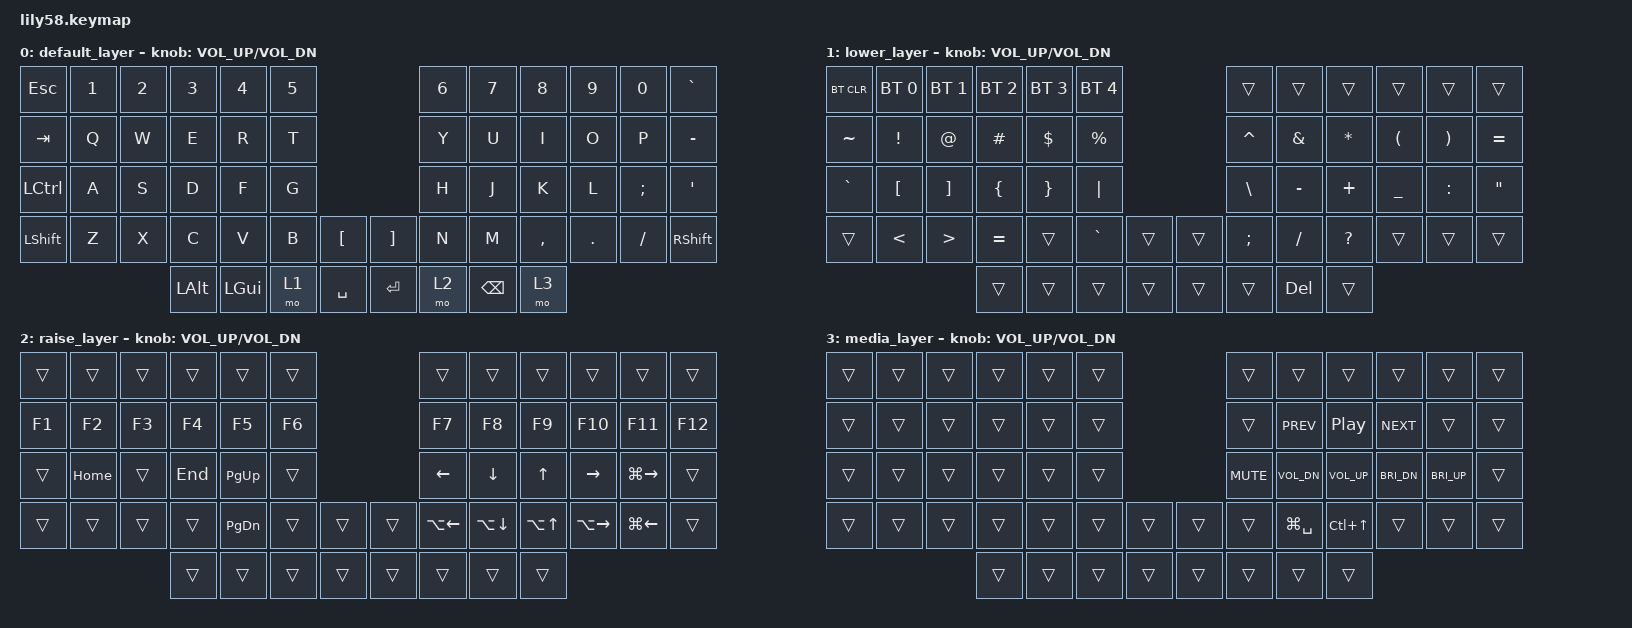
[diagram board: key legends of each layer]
/*
 * Copyright (c) 2020 The ZMK Contributors
 *
 * SPDX-License-Identifier: MIT
 *
 * Lily58 Keymap — JS/TS Dev + Mac + Vim Nav + Media Controls
 * Layers:
 *   0 DEFAULT — standard QWERTY, Mac-friendly modifiers
 *   1 LOWER   — symbols heavy for JS/TS (brackets, pipes, template literals)
 *   2 RAISE   — Vim-style navigation + Mac word/line jumps + F-keys
 *   3 MEDIA   — volume, brightness, playback, Spotlight, Mission Control
 */

#include <behaviors.dtsi>
#include <dt-bindings/zmk/keys.h>
#include <dt-bindings/zmk/bt.h>
#include <dt-bindings/zmk/ext_power.h>

/ {
    keymap {
        compatible = "zmk,keymap";

        // ------------------------------------------------------------------------------------------------------------
        // DEFAULT
        // |  ESC  |  1  |  2  |  3   |  4   |  5   |                   |  6   |  7   |  8   |  9   |  0   |   `   |
        // |  TAB  |  Q  |  W  |  E   |  R   |  T   |                   |  Y   |  U   |  I   |  O   |  P   |   -   |
        // |  CTRL |  A  |  S  |  D   |  F   |  G   |                   |  H   |  J   |  K   |  L   |  ;   |   '   |
        // | SHIFT |  Z  |  X  |  C   |  V   |  B   |   [   |   |   ]   |  N   |  M   |  ,   |  .   |  /   | SHIFT |
        //                     | ALT  | CMD  | LWR  | SPACE |   | ENTER | RSE  | BSPC | MED  |
        default_layer {
            bindings = <
&kp ESC   &kp N1 &kp N2 &kp N3   &kp N4   &kp N5                       &kp N6 &kp N7   &kp N8    &kp N9  &kp N0   &kp GRAVE
&kp TAB   &kp Q  &kp W  &kp E    &kp R    &kp T                        &kp Y  &kp U    &kp I     &kp O   &kp P    &kp MINUS
&kp LCTRL &kp A  &kp S  &kp D    &kp F    &kp G                        &kp H  &kp J    &kp K     &kp L   &kp SEMI &kp SQT
&kp LSHFT &kp Z  &kp X  &kp C    &kp V    &kp B  &kp LBKT   &kp RBKT   &kp N  &kp M    &kp COMMA &kp DOT &kp FSLH &kp RSHFT
                        &kp LALT &kp LGUI &mo 1  &kp SPACE  &kp RET    &mo 2  &kp BSPC &mo 3
            >;
            sensor-bindings = <&inc_dec_kp C_VOL_UP C_VOL_DN>;
        };

        // ------------------------------------------------------------------------------------------------------------
        // LOWER — JS/TS symbols
        // | BTCLR | BT1 | BT2 | BT3 | BT4 | BT5 |                   |      |      |      |      |      |      |
        // |   ~   |  !  |  @  |  #  |  $  |  %  |                   |  ^   |  &   |  *   |  (   |  )   |  =   |
        // |   `   |  [  |  ]  |  {  |  }  |  |  |                   |  \   |  -   |  +   |  _   |  :   |  "   |
        // |       |  <  |  >  |  =  |     |  `  |       |   |       |  ;   |  /   |  ?   |      |      |      |
        //                     |     |     |     |       |   |       |      | DEL  |      |
        lower_layer {
            bindings = <
&bt BT_CLR &bt BT_SEL 0 &bt BT_SEL 1 &bt BT_SEL 2 &bt BT_SEL 3 &bt BT_SEL 4                   &trans    &trans    &trans    &trans    &trans   &trans
&kp TILDE  &kp EXCL     &kp AT       &kp HASH     &kp DLLR     &kp PRCNT                        &kp CARET &kp AMPS  &kp ASTRK &kp LPAR  &kp RPAR &kp EQUAL
&kp GRAVE  &kp LBKT     &kp RBKT     &kp LBRC     &kp RBRC     &kp PIPE                         &kp BSLH  &kp MINUS &kp PLUS  &kp UNDER &kp COLN &kp DQT
&trans     &kp LT       &kp GT       &kp EQUAL    &trans       &kp GRAVE  &trans     &trans      &kp SEMI  &kp FSLH  &kp QMARK &trans    &trans   &trans
                                     &trans       &trans       &trans     &trans     &trans      &trans    &kp DEL   &trans
            >;
            sensor-bindings = <&inc_dec_kp C_VOL_UP C_VOL_DN>;
        };

        // ------------------------------------------------------------------------------------------------------------
        // RAISE — Vim-style navigation + Mac word/line jumps + F-keys
        // |      |     |     |      |      |     |                   |      |       |       |      |       |     |
        // |  F1  |  F2 |  F3 |  F4  |  F5  |  F6 |                   |  F7  |  F8   |  F9   |  F10 |  F11  | F12 |
        // |      | HOME|     | END  | PGUP |     |                   |  ←   |   ↓   |   ↑   |  →   | CMD→  |     |
        // |      |     |     |      | PGDN |     |       |   |       | OPT← | OPT↓  | OPT↑  | OPT→ | CMD←  |     |
        //                    |      |      |     |       |   |       |      |       |       |
        raise_layer {
            bindings = <
&trans &trans   &trans &trans  &trans    &trans                       &trans       &trans       &trans     &trans        &trans        &trans
&kp F1 &kp F2   &kp F3 &kp F4  &kp F5    &kp F6                       &kp F7       &kp F8       &kp F9     &kp F10       &kp F11       &kp F12
&trans &kp HOME &trans &kp END &kp PG_UP &trans                       &kp LEFT     &kp DOWN     &kp UP     &kp RIGHT     &kp LG(RIGHT) &trans
&trans &trans   &trans &trans  &kp PG_DN &trans  &trans     &trans    &kp LA(LEFT) &kp LA(DOWN) &kp LA(UP) &kp LA(RIGHT) &kp LG(LEFT)  &trans
                        &trans &trans    &trans  &trans     &trans    &trans       &trans       &trans
            >;
            sensor-bindings = <&inc_dec_kp C_VOL_UP C_VOL_DN>;
        };

        // ------------------------------------------------------------------------------------------------------------
        // MEDIA — volume, brightness, playback, Spotlight, Mission Control
        // |      |     |     |     |     |     |                   |      |       |       |      |       |      |
        // |      |     |     |     |     |     |                   |      | PREV  | PLAY  | NEXT |       |      |
        // |      |     |     |     |     |     |                   | MUTE | VOL-  | VOL+  | BRI- | BRI+  |      |
        // |      |     |     |     |     |     |       |   |       |      | SPOT  | MISSC |      |       |      |
        //                    |     |     |     |       |   |       |      |       |       |
        media_layer {
            bindings = <
&trans &trans &trans &trans &trans &trans                     &trans        &trans       &trans       &trans       &trans       &trans
&trans &trans &trans &trans &trans &trans                     &trans        &kp C_PREV   &kp C_PP     &kp C_NEXT   &trans       &trans
&trans &trans &trans &trans &trans &trans                     &kp C_MUTE    &kp C_VOL_DN &kp C_VOL_UP &kp C_BRI_DN &kp C_BRI_UP &trans
&trans &trans &trans &trans &trans &trans  &trans   &trans    &trans        &kp LG(SPACE) &kp LC(UP)  &trans       &trans       &trans
                     &trans &trans &trans  &trans   &trans    &trans        &trans        &trans
            >;
            sensor-bindings = <&inc_dec_kp C_VOL_UP C_VOL_DN>;
        };
    };
};
